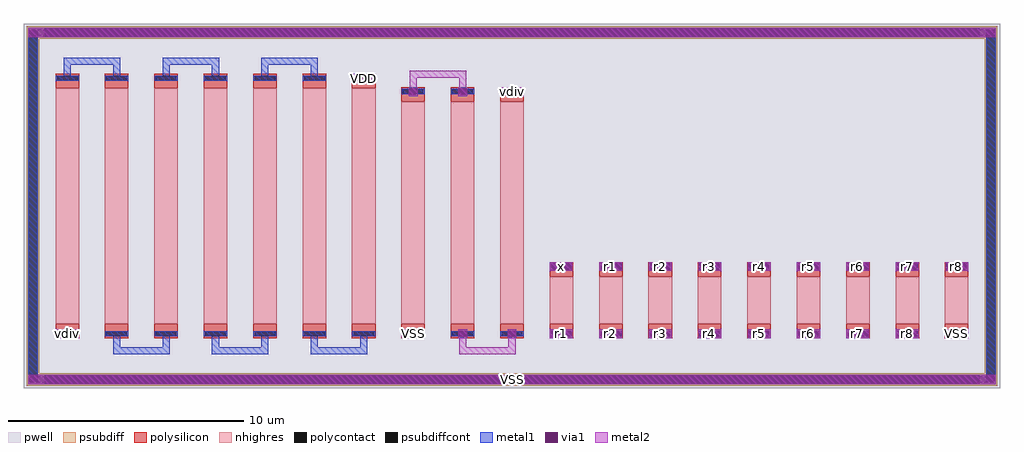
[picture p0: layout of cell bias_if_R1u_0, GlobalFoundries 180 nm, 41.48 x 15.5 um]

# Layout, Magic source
magic
tech gf180mcuD
magscale 1 10
<< pwell >>
rect -368 -464 7928 2636
<< psubdiff >>
rect -344 -440 7904 -336
rect -344 2508 7904 2612
rect -344 -336 -240 2508
rect 7800 -336 7904 2508
<< polysilicon >>
rect -100 2086 100 2208
rect -100 -36 100 86
rect 320 2086 520 2208
rect 320 -36 520 86
rect 740 2086 940 2208
rect 740 -36 940 86
rect 1160 2086 1360 2208
rect 1160 -36 1360 86
rect 1580 2086 1780 2208
rect 1580 -36 1780 86
rect 2000 2086 2200 2208
rect 2000 -36 2200 86
rect 2420 2086 2620 2208
rect 2420 -36 2620 86
rect 2840 1973 3040 2095
rect 2840 -36 3040 86
rect 3260 1973 3460 2095
rect 3260 -36 3460 86
rect 3680 1973 3880 2095
rect 3680 -36 3880 86
rect 4100 486 4300 608
rect 4100 -36 4300 86
rect 4520 486 4720 608
rect 4520 -36 4720 86
rect 4940 486 5140 608
rect 4940 -36 5140 86
rect 5360 486 5560 608
rect 5360 -36 5560 86
rect 5780 486 5980 608
rect 5780 -36 5980 86
rect 6200 486 6400 608
rect 6200 -36 6400 86
rect 6620 486 6820 608
rect 6620 -36 6820 86
rect 7040 486 7240 608
rect 7040 -36 7240 86
rect 7460 486 7660 608
rect 7460 -36 7660 86
<< nhighres >>
rect -100 86 100 2086
rect 320 86 520 2086
rect 740 86 940 2086
rect 1160 86 1360 2086
rect 1580 86 1780 2086
rect 2000 86 2200 2086
rect 2420 86 2620 2086
rect 2840 86 3040 1973
rect 3260 86 3460 1973
rect 3680 86 3880 1973
rect 4100 86 4300 486
rect 4520 86 4720 486
rect 4940 86 5140 486
rect 5360 86 5560 486
rect 5780 86 5980 486
rect 6200 86 6400 486
rect 6620 86 6820 486
rect 7040 86 7240 486
rect 7460 86 7660 486
<< psubdiffcont >>
rect -331 -416 -253 2588
rect 7813 -416 7891 2588
rect -193 2521 7753 2599
rect -193 -427 7753 -349
<< polycontact >>
rect -87 2149 87 2195
rect -87 -23 87 23
rect 333 2149 507 2195
rect 333 -23 507 23
rect 753 2149 927 2195
rect 753 -23 927 23
rect 1173 2149 1347 2195
rect 1173 -23 1347 23
rect 1593 2149 1767 2195
rect 1593 -23 1767 23
rect 2013 2149 2187 2195
rect 2013 -23 2187 23
rect 2433 2149 2607 2195
rect 2433 -23 2607 23
rect 2853 2036 3027 2082
rect 2853 -23 3027 23
rect 3273 2036 3447 2082
rect 3273 -23 3447 23
rect 3693 2036 3867 2082
rect 3693 -23 3867 23
rect 4113 549 4287 595
rect 4113 -23 4287 23
rect 4533 549 4707 595
rect 4533 -23 4707 23
rect 4953 549 5127 595
rect 4953 -23 5127 23
rect 5373 549 5547 595
rect 5373 -23 5547 23
rect 5793 549 5967 595
rect 5793 -23 5967 23
rect 6213 549 6387 595
rect 6213 -23 6387 23
rect 6633 549 6807 595
rect 6633 -23 6807 23
rect 7053 549 7227 595
rect 7053 -23 7227 23
rect 7473 549 7647 595
rect 7473 -23 7647 23
<< metal1 >>
rect -98 2149 98 2195
rect -98 -23 98 23
rect 322 2149 518 2195
rect 322 -23 518 23
rect 742 2149 938 2195
rect 742 -23 938 23
rect 1162 2149 1358 2195
rect 1162 -23 1358 23
rect 1582 2149 1778 2195
rect 1582 -23 1778 23
rect 2002 2149 2198 2195
rect 2002 -23 2198 23
rect 2422 2149 2618 2195
rect 2422 -23 2618 23
rect 2842 2036 3038 2082
rect 2842 -23 3038 23
rect 3262 2036 3458 2082
rect 3262 -23 3458 23
rect 3682 2036 3878 2082
rect 3682 -23 3878 23
rect 4102 549 4298 595
rect 4102 -23 4298 23
rect 4522 549 4718 595
rect 4522 -23 4718 23
rect 4942 549 5138 595
rect 4942 -23 5138 23
rect 5362 549 5558 595
rect 5362 -23 5558 23
rect 5782 549 5978 595
rect 5782 -23 5978 23
rect 6202 549 6398 595
rect 6202 -23 6398 23
rect 6622 549 6818 595
rect 6622 -23 6818 23
rect 7042 549 7238 595
rect 7042 -23 7238 23
rect 7462 549 7658 595
rect 7462 -23 7658 23
rect -98 -38 98 38
rect -30 2149 30 2348
rect 390 2149 450 2348
rect -30 2288 450 2348
rect 390 -176 450 23
rect 810 -176 870 23
rect 390 -176 870 -116
rect 810 2149 870 2348
rect 1230 2149 1290 2348
rect 810 2288 1290 2348
rect 1230 -176 1290 23
rect 1650 -176 1710 23
rect 1230 -176 1710 -116
rect 1650 2149 1710 2348
rect 2070 2149 2130 2348
rect 1650 2288 2130 2348
rect 2070 -176 2130 23
rect 2490 -176 2550 23
rect 2070 -176 2550 -116
rect 2422 2134 2618 2210
rect 2842 -38 3038 38
rect 2902 2021 2978 2097
rect 3322 2021 3398 2097
rect 3322 -38 3398 38
rect 3742 -38 3818 38
rect 3682 2021 3878 2097
rect 4102 -38 4298 38
rect 4102 534 4298 610
rect 4522 -38 4718 38
rect 4522 534 4718 610
rect 4942 -38 5138 38
rect 4942 534 5138 610
rect 5362 -38 5558 38
rect 5362 534 5558 610
rect 5782 -38 5978 38
rect 5782 534 5978 610
rect 6202 -38 6398 38
rect 6202 534 6398 610
rect 6622 -38 6818 38
rect 6622 534 6818 610
rect 7042 -38 7238 38
rect 7042 534 7238 610
rect 7462 -38 7658 38
rect 7462 534 7658 610
rect -331 -427 7891 -349
rect -331 2521 7891 2599
rect -331 -427 -253 2599
rect 7813 -427 7891 2599
rect -331 -427 7891 -349
rect -331 2521 7891 2599
<< metal2 >>
rect -98 -38 98 38
rect 2422 2134 2618 2210
rect 2842 -38 3038 38
rect 2902 2021 2978 2097
rect 2910 2059 2970 2235
rect 3322 2021 3398 2097
rect 3330 2059 3390 2235
rect 2910 2175 3390 2235
rect 3322 -38 3398 38
rect 3330 -176 3390 0
rect 3742 -38 3818 38
rect 3750 -176 3810 0
rect 3330 -176 3810 -116
rect 3682 2021 3878 2097
rect 4102 -38 4298 38
rect 4102 534 4298 610
rect 4522 -38 4718 38
rect 4522 534 4718 610
rect 4942 -38 5138 38
rect 4942 534 5138 610
rect 5362 -38 5558 38
rect 5362 534 5558 610
rect 5782 -38 5978 38
rect 5782 534 5978 610
rect 6202 -38 6398 38
rect 6202 534 6398 610
rect 6622 -38 6818 38
rect 6622 534 6818 610
rect 7042 -38 7238 38
rect 7042 534 7238 610
rect 7462 -38 7658 38
rect 7462 534 7658 610
rect -331 -427 7891 -349
rect -331 2521 7891 2599
<< via1 >>
rect -86 -26 86 26
rect 2434 2146 2606 2198
rect 2854 -26 3026 26
rect 2914 2033 2966 2085
rect 3334 2033 3386 2085
rect 3334 -26 3386 26
rect 3754 -26 3806 26
rect 3694 2033 3866 2085
rect 4114 -26 4286 26
rect 4114 546 4286 598
rect 4534 -26 4706 26
rect 4534 546 4706 598
rect 4954 -26 5126 26
rect 4954 546 5126 598
rect 5374 -26 5546 26
rect 5374 546 5546 598
rect 5794 -26 5966 26
rect 5794 546 5966 598
rect 6214 -26 6386 26
rect 6214 546 6386 598
rect 6634 -26 6806 26
rect 6634 546 6806 598
rect 7054 -26 7226 26
rect 7054 546 7226 598
rect 7474 -26 7646 26
rect 7474 546 7646 598
rect -319 -415 7879 -361
rect -319 2533 7879 2587
<< labels >>
flabel metal2 s -98 -38 98 38 0 FreeSans 80 0 0 0 vdiv
port 1 nsew signal bidirectional
flabel metal2 s 2422 2134 2618 2210 0 FreeSans 80 0 0 0 VDD
port 2 nsew signal bidirectional
flabel metal2 s 2842 -38 3038 38 0 FreeSans 80 0 0 0 VSS
port 3 nsew signal bidirectional
flabel metal2 s 3682 2021 3878 2097 0 FreeSans 80 0 0 0 vdiv
port 1 nsew signal bidirectional
flabel metal2 s 4102 -38 4298 38 0 FreeSans 80 0 0 0 r1
port 4 nsew signal bidirectional
flabel metal2 s 4102 534 4298 610 0 FreeSans 80 0 0 0 x
port 5 nsew signal bidirectional
flabel metal2 s 4522 -38 4718 38 0 FreeSans 80 0 0 0 r2
port 6 nsew signal bidirectional
flabel metal2 s 4522 534 4718 610 0 FreeSans 80 0 0 0 r1
port 4 nsew signal bidirectional
flabel metal2 s 4942 -38 5138 38 0 FreeSans 80 0 0 0 r3
port 7 nsew signal bidirectional
flabel metal2 s 4942 534 5138 610 0 FreeSans 80 0 0 0 r2
port 6 nsew signal bidirectional
flabel metal2 s 5362 -38 5558 38 0 FreeSans 80 0 0 0 r4
port 8 nsew signal bidirectional
flabel metal2 s 5362 534 5558 610 0 FreeSans 80 0 0 0 r3
port 7 nsew signal bidirectional
flabel metal2 s 5782 -38 5978 38 0 FreeSans 80 0 0 0 r5
port 9 nsew signal bidirectional
flabel metal2 s 5782 534 5978 610 0 FreeSans 80 0 0 0 r4
port 8 nsew signal bidirectional
flabel metal2 s 6202 -38 6398 38 0 FreeSans 80 0 0 0 r6
port 10 nsew signal bidirectional
flabel metal2 s 6202 534 6398 610 0 FreeSans 80 0 0 0 r5
port 9 nsew signal bidirectional
flabel metal2 s 6622 -38 6818 38 0 FreeSans 80 0 0 0 r7
port 11 nsew signal bidirectional
flabel metal2 s 6622 534 6818 610 0 FreeSans 80 0 0 0 r6
port 10 nsew signal bidirectional
flabel metal2 s 7042 -38 7238 38 0 FreeSans 80 0 0 0 r8
port 12 nsew signal bidirectional
flabel metal2 s 7042 534 7238 610 0 FreeSans 80 0 0 0 r7
port 11 nsew signal bidirectional
flabel metal2 s 7462 -38 7658 38 0 FreeSans 80 0 0 0 VSS
port 3 nsew signal bidirectional
flabel metal2 s 7462 534 7658 610 0 FreeSans 80 0 0 0 r8
port 12 nsew signal bidirectional
flabel metal2 s -331 -427 7891 -349 0 FreeSans 80 0 0 0 VSS
port 3 nsew signal bidirectional
<< end >>
